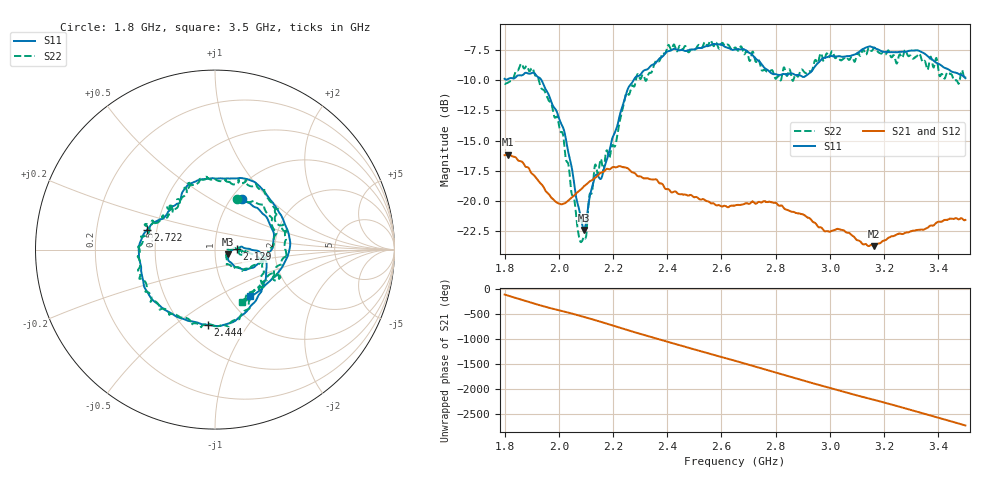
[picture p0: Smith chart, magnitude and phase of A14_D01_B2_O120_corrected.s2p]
! Created with skrf 1.9.0 (http://scikit-rf.org).
# Hz S RI R 50.0
!freq ReS11 ImS11 ReS21 ImS21 ReS12 ImS12 ReS22 ImS22
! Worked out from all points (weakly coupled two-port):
!   1601 points, 1.8 GHz to 3.5 GHz, reference 50 ohm
!   highest |S21| = -16.18 dB at 1.812 GHz (marker M1); lowest = -23.8 dB at 3.163 GHz (marker M2)
!   lowest |S11| = -22.4 dB at 2.092 GHz (marker M3), VSWR 1.16, Z = 57.6 - j2.92 ohm
!   |S11| at or under -10 dB: 1.936 GHz to 2.276 GHz (339.3 MHz wide, 16.1 % of centre)
!   |S22| runs from -23.4 to -6.7 dB; largest |S21 - S12| = 0.003
!   S11 on the Smith chart (normalised r, x): 1.8 GHz: 1.12, +0.71; 2.129 GHz: 1.28, +0.00; 2.444 GHz: 0.66, -0.67; 2.722 GHz: 0.44, +0.12; 3.5 GHz: 1.26, -0.72
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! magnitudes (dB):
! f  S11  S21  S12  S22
! 1.8 GHz  -9.9  -16.2  -16.2  -10.3
! 1.812 GHz  -9.9  -16.2  -16.2  -10.2
! 1.859 GHz  -9.6  -16.7  -16.8  -8.7
! 1.901 GHz  -9.4  -17.8  -17.7  -9.0
! 1.968 GHz  -11.5  -19.6  -19.6  -11.8
! 2.02 GHz  -14.2  -20.2  -20.2  -15.3
! 2.084 GHz  -21.7  -19.0  -19.0  -23.4
! 2.092 GHz  -22.4  -18.8  -18.9  -23.1
! 2.129 GHz  -18.3  -18.2  -18.2  -17.7
! 2.159 GHz  -18.0  -17.6  -17.6  -16.9
! 2.208 GHz  -14.3  -17.2  -17.2  -15.4
! 2.259 GHz  -10.5  -17.4  -17.4  -11.2
! 2.367 GHz  -8.3  -18.4  -18.4  -8.4
! 2.444 GHz  -7.5  -19.4  -19.5  -7.2
! 2.65 GHz  -7.5  -20.4  -20.4  -7.3
! 2.722 GHz  -8.1  -20.2  -20.1  -8.2
! 2.812 GHz  -9.6  -20.4  -20.3  -9.7
! 2.934 GHz  -9.2  -21.7  -21.6  -9.2
! 3.163 GHz  -7.3  -23.8  -23.7  -7.3
! 3.217 GHz  -7.7  -23.1  -23.0  -7.6
! 3.328 GHz  -7.6  -22.4  -22.4  -7.8
! 3.5 GHz  -9.8  -21.6  -21.6  -9.7
